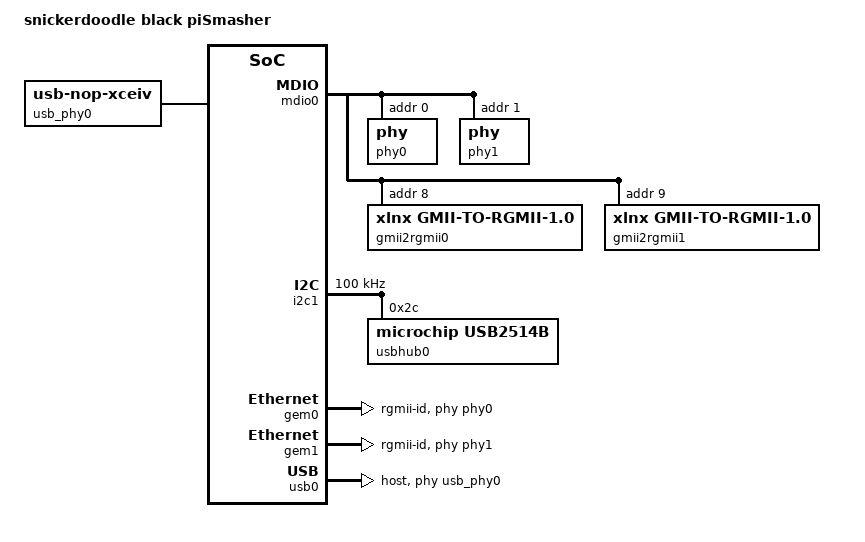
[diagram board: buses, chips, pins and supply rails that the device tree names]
/**
 * Copyright (c) 2016 krtkl inc.
 *
 * snickerdoodle black piSmasher device tree source
 *
 * This program is free software; you can redistribute it and/or modify it
 * under the terms of the GNU General Public License version 2 as published by
 * the Free Software Foundation.
 */

/dts-v1/;
/include/ "snickerdoodle-black.dtsi"

/ {
	model = "snickerdoodle black piSmasher";

	aliases {
		ethernet0 = &gem0;
		ethernet1 = &gem1;
	};

        usb_phy0: phy0 {
                compatible = "usb-nop-xceiv";
                #phy-cells = <0>;
        };

	mdio0: mdio@e000b000 {
		compatible = "cdns,macb-mdio";
		reg = <0xe000b000 0x1000>;
		clocks = <&clkc 30>, <&clkc 30>, <&clkc 13>;
		clock-names = "pclk", "hclk", "tx_clk";
		#address-cells = <1>;
		#size-cells = <0>;

		phy0: phy@0 {
			device_type = "ethernet-phy";
			reg = <0>;
		};

		phy1: phy@1 {
			device_type = "ethernet-phy";
			reg = <1>;
		};

		gmii2rgmii0: phy@8 {
			compatible = "xlnx,gmii-to-rgmii-1.0";
			reg = <8>;
			phy-handle = <&phy0>;
		};

		gmii2rgmii1: phy@9 {
			compatible = "xlnx,gmii-to-rgmii-1.0";
			reg = <9>;
			phy-handle = <&phy1>;
		};
	};

//	sound0: sound {
//		compatible = "simple-audio-card";
//		simple-audio-card,name = "piSmasher Audio";

//		simple-audio-card,widgets =
//			"Line", "Line Out";

//		simple-audio-card,routing =
//			"Line Out", "LLOUT",
//			"Line Out", "RLOUT";

//		simple-audio-card,format = "i2s";
//		simple-audio-card,bitclock-master = <&sound0_codec>;
//		simple-audio-card,frame-master = <&sound0_codec>;

//		simple-audio-card,cpu {
//			sound-dai = <&logii2s0>;
//		};

//		sound0_codec: simple-audio-card,codec {
//			#sound-dai-cells = <0>;
//			sound-dai = <&tlv320aic3104>;
//		};
//	};

//	logii2s0: logii2s@43c00000 {
//		#sound-dai-cells = <0>;
//		op-mode = <0>;
//		tdm-slots = <4>;
//		compatible = "xylon,logii2s-2.00.a";
//		reg = <0x43c00000 0x1000>;
//		interrupt-parent = <&intc>;
//		interrupts = <0 29 4>;
//		core-clock-frequency = <100000000>;

//		instance_0 {
//			i2s-clock-frequency = <12000000>;
//			fifo-size = <512>;
//			almost-full-level = <170>;
//			almost-empty-level = <85>;
//		};

//		instance_1 {
//			i2s-clock-frequency = <12000000>;
//			fifo-size = <512>;
//			almost-full-level = <170>;
//			almost-empty-level = <85>;
//		};
//	};
};

&i2c1 {
	status = "okay";
	clock-frequency = <100000>;

	usbhub0: usb2514b@2c {
		compatible = "microchip,usb2514b";
		reg = <0x2c>;
	};

//	tlv320aic3104: tlv320aic3104@18 {
//		#sound-dai-cells = <0>;
//		compatible = "ti,tlv320aic3104";
//		reg = <0x18>;
//		status = "okay";
//	};
};

&gem0 {
	status = "okay";
	xlnx,has-mdio = <1>;
	phy-handle = <&phy0>;
	phy-mode = "rgmii-id";
	gmii2rgmii-phy-handle = <&gmii2rgmii0>;
};

&gem1 {
	status = "okay";
	xlnx,has-mdio = <0>;
	phy-handle = <&phy1>;
	phy-mode = "rgmii-id";
	gmii2rgmii-phy-handle = <&gmii2rgmii1>;
};

&usb0 {
	status = "okay";
	dr_mode = "host";
	usb-phy = <&usb_phy0>;
};
